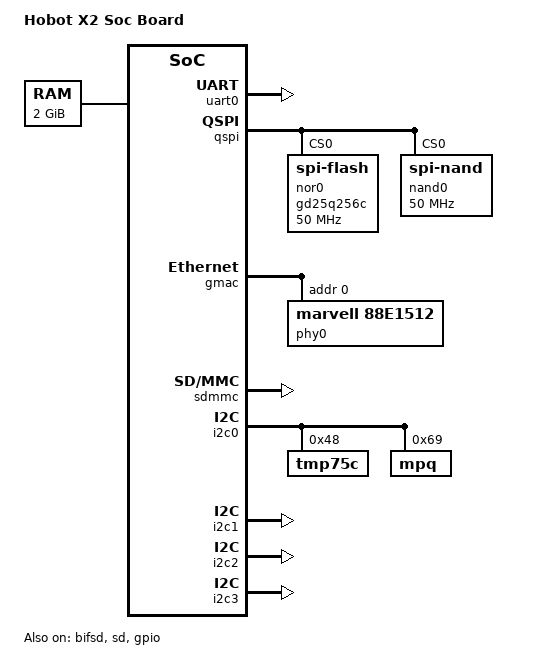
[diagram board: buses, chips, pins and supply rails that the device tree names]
/*
 * dts file for Hobot X2 FPGA
 *
 * (C) Copyright 2017 - 2018, Hobot, Inc.
 *
 * yu.xing <yu.xing@hobot.cc>
 *
 * SPDX-License-Identifier:	GPL-2.0+
 */

/dts-v1/;

#include "hobot.dtsi"

/ {
	model = "Hobot X2 Soc Board";
	compatible = "hobot,x2-soc";

	aliases {
		serial0 = &uart0;
		spi0	= &qspi;
		gmac0 = &gmac;
		bif	= &bifsd;
		mmc0    = &sdmmc;
		mmc1   = &sd;
		i2c0	= &i2c0;
		i2c1	= &i2c1;
		i2c2	= &i2c2;
		i2c3	= &i2c3;
	};

	chosen {
		bootargs = "";
		stdout-path = "serial0:115200n8";
	};

	memory@0 {
		device_type = "memory";
		reg = <0x0 0x0 0x0 0x80000000>;
	};

	gpio: gpio@a6003000 {
		compatible = "hobot,x2-gpio-1.0";
		status = "okay";
		#gpio-cells = <0x2>;
		reg = <0x0 0xa6003000 0x0 0x100>;
	};

	j2-leds {
		red-gpio = <62>;
		green-gpio = <61>;
	};
};

&uart0 {
	status = "okay";
};

&qspi {
	status = "okay";
	spi-max-frequency = <500000000>;
	#address-cells = <1>;
	#size-cells = <0>;

	nor0: gd25q256c@0 {
		u-boot,dm-pre-reloc;
		compatible = "spi-flash";
		reg = <0x0>;
		spi-tx-bus-width = <4>;
		spi-rx-bus-width = <4>;
		spi-max-frequency = <50000000>;
	};


	nand0: spi-nand@0 {
		#address-cells = <1>;
		#size-cells = <1>;
		compatible = "spi-nand";
		reg = <0x0>;
		spi-tx-bus-width = <4>;
		spi-rx-bus-width = <4>;
		spi-max-frequency = <50000000>;
	};

};

&gmac {
        status = "okay";
        #address-cells = <0x1>;
        #size-cells = <0x0>;
        phyaddr = <0>;

	phy0: ethernet-phy@0 {
		compatible = "marvell,88E1512","ethernet-phy-ieee802.3-c22";
		reg = <0>;
	};
};
&bifsd {
	status = "okay";
};
&sdmmc {
	status = "okay";
};

&i2c0 {
	status = "okay";
	#address-cells = <1>;
	#size-cells = <0>;
	
	tmp75c@48 {
		reg = <0x48>;
	};

	mpq@69 {
		reg = <0x69>;
	};
};

&i2c1 {
	status = "okay";
};



&i2c2 {
	status = "okay";
};

&i2c3 {
	status = "okay";
};

&sd {
	status = "okay";
};
